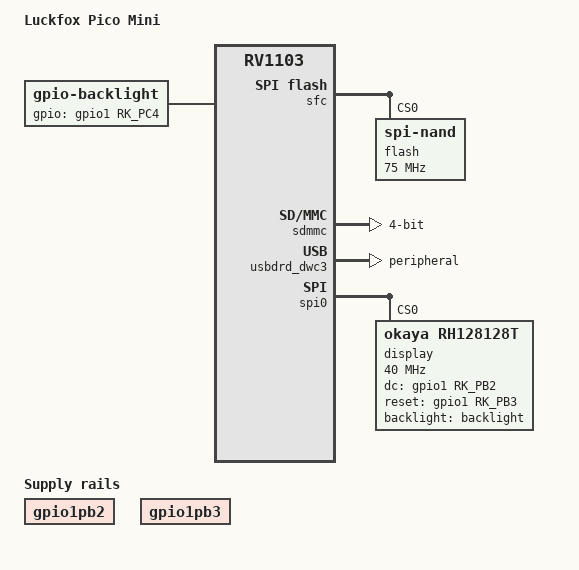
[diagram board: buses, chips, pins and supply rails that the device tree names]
// SPDX-License-Identifier: (GPL-2.0+ OR MIT)
/*
 * Copyright (c) 2023 Luckfox Electronics Co., Ltd.
 */

/dts-v1/;

#include "rv1103.dtsi"
#include "rv1106-evb.dtsi"
#include "rv1103-luckfox-pico-ipc.dtsi"

/ {
	model = "Luckfox Pico Mini";
	compatible = "rockchip,rv1103g-38x38-ipc-v10", "rockchip,rv1103";
};

/**********SFC**********/
&sfc {
	status = "okay";
	flash@0 {
		compatible = "spi-nand";
		reg = <0>;
		spi-max-frequency = <75000000>;
		spi-rx-bus-width = <4>;
		spi-tx-bus-width = <1>;
	};
};

/**********SDMMC**********/
&sdmmc {
	max-frequency = <50000000>;
	no-sdio;
	no-mmc;
	bus-width = <4>;
	cap-mmc-highspeed;
	cap-sd-highspeed;
	disable-wp;
	pinctrl-names = "default";
	pinctrl-0 = <&sdmmc0_clk &sdmmc0_cmd &sdmmc0_det &sdmmc0_bus4>;
	status = "okay";
};

/**********ETH**********/
&gmac {
	status = "disabled";
};

/**********USB**********/
&usbdrd_dwc3 {
	status = "okay";
	dr_mode = "peripheral";
};

/{
	backlight:backlight {
        compatible = "gpio-backlight";
        gpios = <&gpio1 RK_PC4 GPIO_ACTIVE_HIGH>;
        default-on;
    };

	/*LCD_DC*/
    gpio1pb2:gpio1pb2 {
        compatible = "regulator-fixed";
        pinctrl-names = "default";
        pinctrl-0 = <&gpio1_pb2>;
        regulator-name = "gpio1_pb2";
        regulator-always-on;
    };

	/*LCD_RES*/
    gpio1pb3:gpio1pb3 {
        compatible = "regulator-fixed";
        pinctrl-names = "default";
        pinctrl-0 = <&gpio1_pb3>;
        regulator-name = "gpio1_pb3";
        regulator-always-on;
    };
};

&pinctrl {

	/*LCD_DC*/
    gpio1-pb2 {
        gpio1_pb2:gpio1-pb2 {
            rockchip,pins = <1 RK_PB2 RK_FUNC_GPIO &pcfg_pull_none>;
        };
    };

	/*LCD_RES*/
    gpio1-pb3 {
        gpio1_pb3:gpio1-pb3 {
            rockchip,pins = <1 RK_PB3 RK_FUNC_GPIO &pcfg_pull_none>;
        };
    };

	spi0 {
		spi0m0_pins: spi0m0-pins {
            rockchip,pins =
                /* spi0_clk_m0 */
                <1 RK_PC1 4 &pcfg_pull_none>,
                /* spie_miso_m0 */
                // <1 RK_PC3 6 &pcfg_pull_none>,
                /* spi_mosi_m0 */
                <1 RK_PC2 6 &pcfg_pull_none>;
        };
		spi0m0_cs0: spi0m0-cs0 {
			rockchip,pins = <1 RK_PC0 4 &pcfg_pull_none>;
		};
	};
};

/* SPI0_M0 */
&spi0 {
	status = "okay";   

	display@0{			
		status = "okay";
		compatible = "okaya,rh128128t", "sitronix,st7735r";
		reg = <0>;
		spi-max-frequency = <40000000>;
		rotation = <0>;
		backlight = &backlight;
		dc-gpios = <&gpio1 RK_PB2 GPIO_ACTIVE_HIGH>;      //DC
		reset-gpios = <&gpio1 RK_PB3 GPIO_ACTIVE_HIGH>;    //RES
  };
};

/**********I2C**********/
/* I2C3_M1 */
&i2c3 {
	status = "disabled";
	clock-frequency = <100000>;
};

/**********UART**********/
/* UART3_M1 */
&uart3 {
	status = "disabled";
};

/* UART4_M1 */
&uart4 {
	status = "disabled";
};

/**********PWM**********/
/* PWM1_M0 */
&pwm1 {
	status = "disabled";
};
